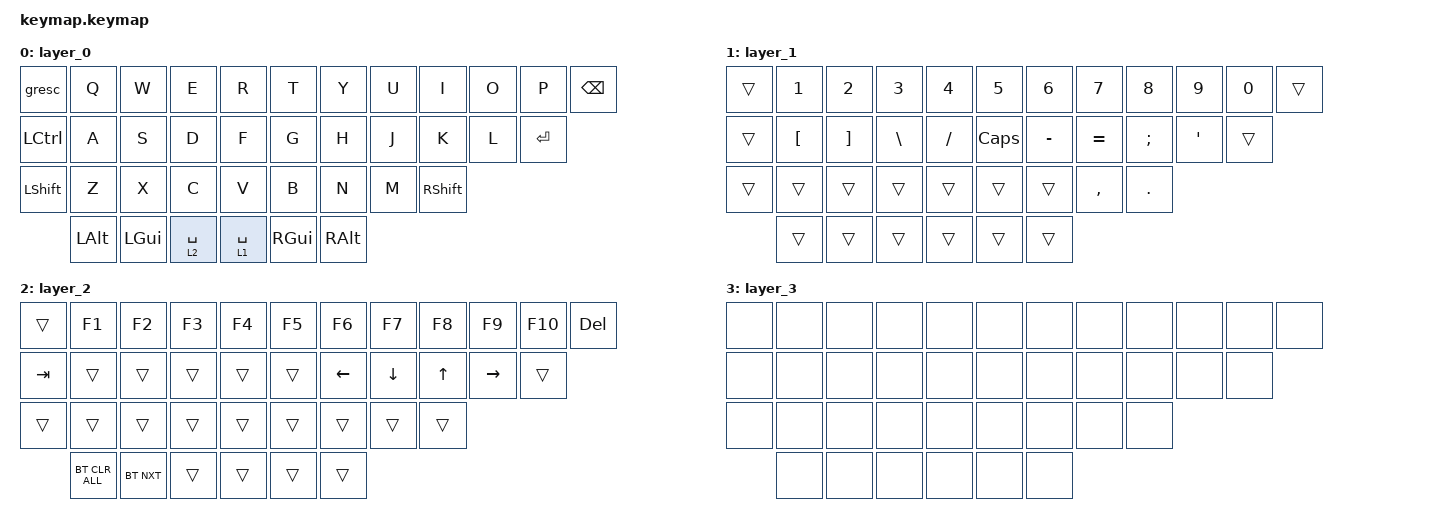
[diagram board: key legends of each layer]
#include <behaviors.dtsi>
#include <dt-bindings/zmk/bt.h>
#include <dt-bindings/zmk/keys.h>

/ {
    keymap {
        compatible = "zmk,keymap";

        layer_0 {
            bindings = <
&gresc     &kp Q     &kp W     &kp E        &kp R        &kp T     &kp Y     &kp U  &kp I      &kp O  &kp P      &kp BSPC
&kp LCTRL  &kp A     &kp S     &kp D        &kp F        &kp G     &kp H     &kp J  &kp K      &kp L  &kp ENTER
&kp LSHFT  &kp Z     &kp X     &kp C        &kp V        &kp B     &kp N     &kp M  &kp RSHFT
           &kp LALT  &kp LGUI  &lt 2 SPACE  &lt 1 SPACE  &kp RGUI  &kp RALT
            >;
        };

        layer_1 {
            bindings = <
&trans  &kp N1    &kp N2    &kp N3    &kp N4    &kp N5    &kp N6     &kp N7     &kp N8    &kp N9    &kp N0  &trans
&trans  &kp LBKT  &kp RBKT  &kp BSLH  &kp FSLH  &kp CAPS  &kp MINUS  &kp EQUAL  &kp SEMI  &kp APOS  &trans
&trans  &trans    &trans    &trans    &trans    &trans    &trans     &kp COMMA  &kp DOT
        &trans    &trans    &trans    &trans    &trans    &trans
            >;
        };

        layer_2 {
            bindings = <
&trans   &kp F1          &kp F2      &kp F3  &kp F4  &kp F5  &kp F6    &kp F7    &kp F8        &kp F9     &kp F10  &kp DELETE
&kp TAB  &trans          &trans      &trans  &trans  &trans  &kp LEFT  &kp DOWN  &kp UP_ARROW  &kp RIGHT  &trans
&trans   &trans          &trans      &trans  &trans  &trans  &trans    &trans    &trans
         &bt BT_CLR_ALL  &bt BT_NXT  &trans  &trans  &trans  &trans
            >;
        };

        layer_3 {
            bindings = <
&none  &none  &none  &none  &none  &none  &none  &none  &none  &none  &none  &none
&none  &none  &none  &none  &none  &none  &none  &none  &none  &none  &none
&none  &none  &none  &none  &none  &none  &none  &none  &none
       &none  &none  &none  &none  &none  &none
            >;
        };
    };
};
